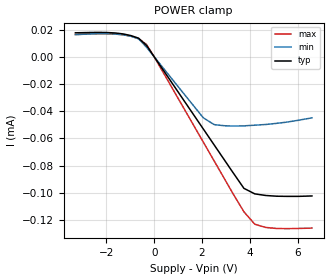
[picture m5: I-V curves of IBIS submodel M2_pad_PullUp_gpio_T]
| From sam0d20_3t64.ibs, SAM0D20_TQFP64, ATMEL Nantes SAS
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| Submodel
[Submodel]  M2_pad_PullUp_gpio_T
Submodel_type Dynamic_clamp
[POWER Clamp]
| Voltage   I(typ)   I(min)   I(max)
-3.3V     17.63uA    16.25uA    16.45uA
-2.291V   17.94uA    17.05uA    16.92uA
-1.309V   16.84uA    16.2uA     16.22uA
-654.5mV  13.69uA    13.25uA    13.26uA
-327.3mV  8.432uA    7.175uA    9.185uA
2.062V    -53.22uA   -44.89uA   -62.89uA
2.527V    -65.19uA   -49.86uA   -77.03uA
3.755V    -96.64uA   -50.73uA   -113.9uA
4.209V    -100.7uA   -50.22uA   -123uA
4.664V    -101.9uA   -49.72uA   -125.4uA
5.118V    -102.4uA   -48.89uA   -126.1uA
6.6V      -102.2uA   -44.82uA   -125.8uA
